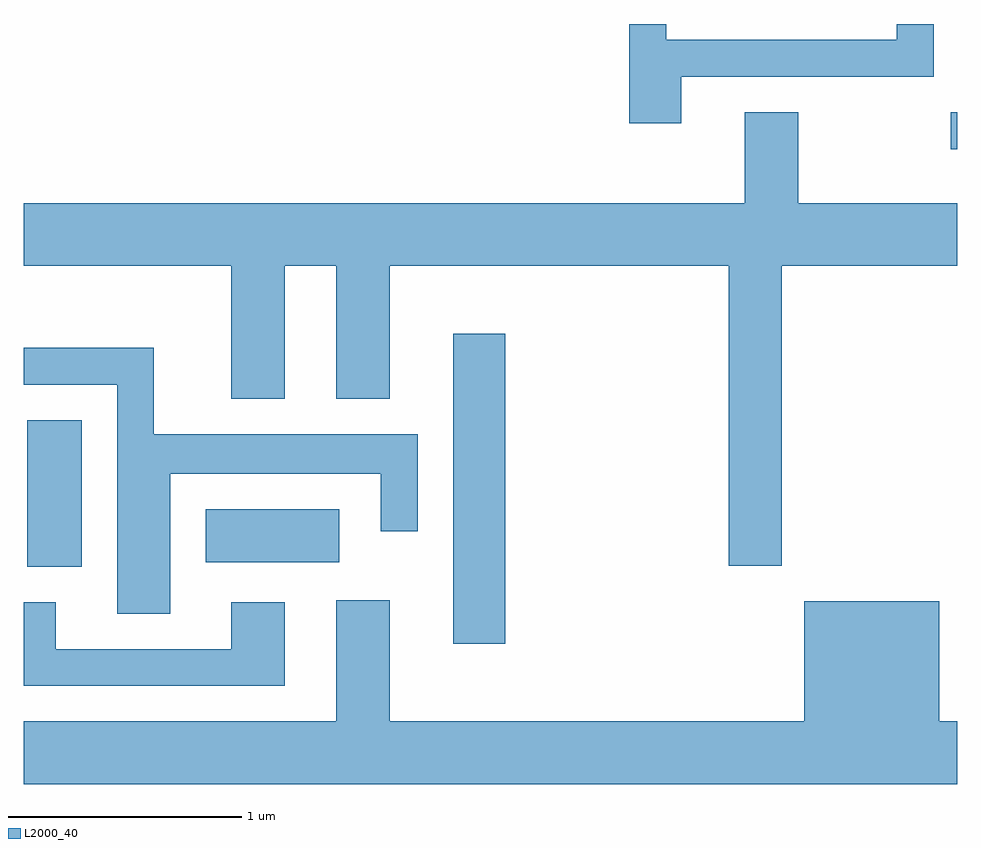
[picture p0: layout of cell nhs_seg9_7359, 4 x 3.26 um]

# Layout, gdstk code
import gdstk
lib = gdstk.Library(unit=1e-6, precision=1e-09)
def R(c, l, rs):  # rectangles x0, y0, x1, y1
    for r in rs: c.add(gdstk.rectangle(r[:2], r[2:], *l))
def P(c, l, *ps):  # polygons
    for p in ps: c.add(gdstk.Polygon(p, *l))
L2000_40 = (2000, 40)

nhs_seg9_7359 = lib.new_cell('nhs_seg9_7359')
R(nhs_seg9_7359, L2000_40, [(405.451,1965.776,405.674,1967.104), (403.626,1966.106,403.859,1966.734), (404.391,1966.126,404.964,1966.354), (407.583,1967.896,407.611,1968.054)])
P(nhs_seg9_7359, L2000_40, [(406.429,1968.206),(407.509,1968.206),(407.509,1968.432),(407.351,1968.432),(407.351,1968.364),(406.364,1968.364),(406.364,1968.432),(406.206,1968.432),(406.206,1968.006),(406.429,1968.006)],
  [(406.859,1967.396),(407.611,1967.396),(407.611,1967.664),(406.929,1967.664),(406.929,1968.054),(406.701,1968.054),(406.701,1967.664),(403.611,1967.664),(403.611,1967.396),(404.501,1967.396),(404.501,1966.826),(404.729,1966.826),(404.729,1967.396),(404.951,1967.396),(404.951,1966.826),(405.179,1966.826),(405.179,1967.396),(406.631,1967.396),(406.631,1966.111),(406.859,1966.111)],
  [(404.239,1966.506),(405.141,1966.506),(405.141,1966.258),(405.299,1966.258),(405.299,1966.674),(404.169,1966.674),(404.169,1967.044),(403.611,1967.044),(403.611,1966.886),(404.011,1966.886),(404.011,1965.906),(404.239,1965.906)],
  [(407.611,1965.444),(407.534,1965.444),(407.534,1965.959),(406.956,1965.959),(406.956,1965.444),(405.179,1965.444),(405.179,1965.964),(404.951,1965.964),(404.951,1965.444),(403.611,1965.444),(403.611,1965.176),(407.611,1965.176)],
  [(404.729,1965.954),(404.501,1965.954),(404.501,1965.754),(403.749,1965.754),(403.749,1965.954),(403.611,1965.954),(403.611,1965.596),(404.729,1965.596)])

lib.write_gds('nhs_seg9_7359.gds')
